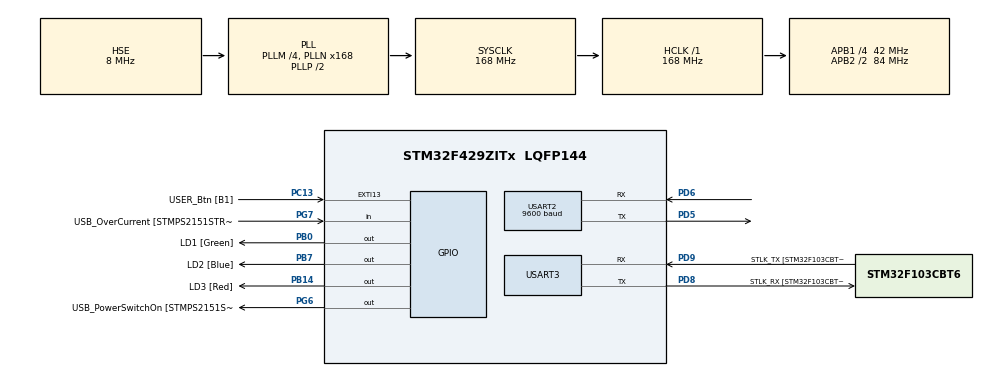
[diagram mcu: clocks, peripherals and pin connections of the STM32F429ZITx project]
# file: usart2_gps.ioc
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Mcu.Family=STM32F4
Mcu.Name=STM32F429ZITx
Mcu.Package=LQFP144
NVIC.PriorityGroup=NVIC_PRIORITYGROUP_4
NVIC.USART2_IRQn=true\:0\:0\:false\:false\:true\:true\:true\:true
PA1.GPIO_Label=RMII_REF_CLK [LAN8742A-CZ-TR_REFCLK0]
PA1.Signal=ETH_REF_CLK
PA10.GPIO_Label=USB_ID
PA10.Signal=USB_OTG_FS_ID
PA11.GPIO_Label=USB_DM
PA11.Signal=USB_OTG_FS_DM
PA12.GPIO_Label=USB_DP
PA12.Signal=USB_OTG_FS_DP
PA13.GPIO_Label=TMS
PA13.Mode=Serial_Wire
PA13.Signal=SYS_JTMS-SWDIO
PA14.GPIO_Label=TCK
PA14.Mode=Serial_Wire
PA14.Signal=SYS_JTCK-SWCLK
PA2.GPIO_Label=RMII_MDIO [LAN8742A-CZ-TR_MDIO]
PA2.Signal=ETH_MDIO
PA7.GPIO_Label=RMII_CRS_DV [LAN8742A-CZ-TR_CRS_DV]
PA7.Signal=ETH_CRS_DV
PA8.GPIO_Label=USB_SOF [TP1]
PA8.Signal=USB_OTG_FS_SOF
PA9.GPIO_Label=USB_VBUS
PA9.Signal=USB_OTG_FS_VBUS
PB0.GPIO_Label=LD1 [Green]
PB0.Signal=GPIO_Output
PB13.GPIO_Label=RMII_TXD1 [LAN8742A-CZ-TR_TXD1]
PB13.Signal=ETH_TXD1
PB14.GPIO_Label=LD3 [Red]
PB14.Signal=GPIO_Output
PB7.GPIO_Label=LD2 [Blue]
PB7.Signal=GPIO_Output
PC1.GPIO_Label=RMII_MDC [LAN8742A-CZ-TR_MDC]
PC1.Signal=ETH_MDC
PC13.GPIO_Label=USER_Btn [B1]
PC13.Signal=GPXTI13
PC14/OSC32_IN.Mode=LSE-External-Oscillator
PC14/OSC32_IN.Signal=RCC_OSC32_IN
PC15/OSC32_OUT.Mode=LSE-External-Oscillator
PC15/OSC32_OUT.Signal=RCC_OSC32_OUT
PC4.GPIO_Label=RMII_RXD0 [LAN8742A-CZ-TR_RXD0]
PC4.Signal=ETH_RXD0
PC5.GPIO_Label=RMII_RXD1 [LAN8742A-CZ-TR_RXD1]
PC5.Signal=ETH_RXD1
PD5.Mode=Asynchronous
PD5.Signal=USART2_TX
PD6.Mode=Asynchronous
PD6.Signal=USART2_RX
PD8.GPIO_Label=STLK_RX [STM32F103CBT6_PA3]
PD8.Mode=Asynchronous
PD8.Signal=USART3_TX
PD9.GPIO_Label=STLK_TX [STM32F103CBT6_PA2]
PD9.Mode=Asynchronous
PD9.Signal=USART3_RX
PG11.GPIO_Label=RMII_TX_EN [LAN8742A-CZ-TR_TXEN]
PG11.Signal=ETH_TX_EN
PG13.GPIO_Label=RMII_TXD0 [LAN8742A-CZ-TR_TXD0]
PG13.Signal=ETH_TXD0
PG6.GPIO_Label=USB_PowerSwitchOn [STMPS2151STR_EN]
PG6.Signal=GPIO_Output
PG7.GPIO_Label=USB_OverCurrent [STMPS2151STR_FAULT]
PG7.Signal=GPIO_Input
PH0/OSC_IN.GPIO_Label=MCO [STM32F103CBT6_PA8]
PH0/OSC_IN.Mode=HSE-External-Clock-Source
PH0/OSC_IN.Signal=RCC_OSC_IN
PH1/OSC_OUT.Mode=HSE-External-Clock-Source
PH1/OSC_OUT.Signal=RCC_OSC_OUT
ProjectManager.HeapSize=0x200
ProjectManager.StackSize=0x400
ProjectManager.TargetToolchain=STM32CubeIDE
RCC.48MHZClocksFreq_Value=48000000
RCC.AHBFreq_Value=168000000
RCC.APB1CLKDivider=RCC_HCLK_DIV4
RCC.APB1Freq_Value=42000000
RCC.APB1TimFreq_Value=84000000
RCC.APB2CLKDivider=RCC_HCLK_DIV2
RCC.APB2Freq_Value=84000000
RCC.APB2TimCLKDivider=2
RCC.APB2TimFreq_Value=168000000
RCC.CortexFreq_Value=168000000
RCC.HCLKFreq_Value=168000000
RCC.HSE_VALUE=8000000
RCC.HSI_VALUE=16000000
RCC.PLLM=4
RCC.PLLMUL=RCC_PLL_MUL9
RCC.PLLN=168
RCC.PLLQ=7
RCC.PLLSourceVirtual=RCC_PLLSOURCE_HSE
RCC.PRESCALERUSB=RCC_USBCLKSOURCE_PLL_DIV1_5
RCC.SYSCLKFreq_VALUE=168000000
RCC.SYSCLKSource=RCC_SYSCLKSOURCE_PLLCLK
RCC.SYSCLKSourceVirtual=RCC_SYSCLKSOURCE_PLLCLK
RCC.USBFreq_Value=48000000
RCC.VCOOutputFreq_Value=336000000
USART2.BaudRate=9600
USART2.VirtualMode=VM_ASYNC
USART3.VirtualMode=VM_ASYNC
board=NUCLEO-F429ZI

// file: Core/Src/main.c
/* USER CODE BEGIN Header */
/**
  ******************************************************************************
  * @file           : main.c
  * @brief          : Main program body
  ******************************************************************************
  * @attention
  *
  * Copyright (c) 2023 STMicroelectronics.
  * All rights reserved.
  *
  * This software is licensed under terms that can be found in the LICENSE file
  * in the root directory of this software component.
  * If no LICENSE file comes with this software, it is provided AS-IS.
  *
  ******************************************************************************
  */
/* USER CODE END Header */
#include "main.h"
#include "usart.h"
#include "gpio.h"

/* USER CODE BEGIN Includes */
#include "gps.h"
/* USER CODE END Includes */

/* USER CODE BEGIN PV */
extern uint8_t rx_data;
extern uint8_t rx_buffer[GPSBUFSIZE];
extern uint8_t rx_index;
extern GPS_t GPS;

extern flag = 0;

/* USER CODE END PV */

void SystemClock_Config(void);
/* USER CODE BEGIN PFP */
#ifdef __GNUC__
/* With GCC, small printf (option LD Linker->Libraries->Small printf
   set to 'Yes') calls __io_putchar() */
#define PUTCHAR_PROTOTYPE int __io_putchar(int ch)
#else
#define PUTCHAR_PROTOTYPE int fputc(int ch, FILE *f)
#endif /* __GNUC__ */
/* USER CODE END PFP */

/* USER CODE BEGIN 0 */
void HAL_UART_RxCpltCallback(UART_HandleTypeDef *huart)
{
	if(huart == &huart2){
		GPS_UART_CallBack();
	}
}
/* USER CODE END 0 */

int main(void)
{

  /* MCU Configuration--------------------------------------------------------*/

  /* Reset of all peripherals, Initializes the Flash interface and the Systick. */
  HAL_Init();

  /* Configure the system clock */
  SystemClock_Config();

  /* Initialize all configured peripherals */
  MX_GPIO_Init();
  MX_USART3_UART_Init();
  MX_USART2_UART_Init();
  /* USER CODE BEGIN 2 */
  GPS_Init();
  /* USER CODE END 2 */

  /* Infinite loop */
  /* USER CODE BEGIN WHILE */
  while (1)
  {
	  HAL_Delay(1000);
	  printf("%.f,%f,%f\r\n", GPS.utc_time, GPS.dec_latitude, GPS.dec_longitude);
    /* USER CODE END WHILE */

  }
}

void SystemClock_Config(void)
{
  RCC_OscInitTypeDef RCC_OscInitStruct = {0};
  RCC_ClkInitTypeDef RCC_ClkInitStruct = {0};

  /** Configure the main internal regulator output voltage
  */
  __HAL_RCC_PWR_CLK_ENABLE();
  __HAL_PWR_VOLTAGESCALING_CONFIG(PWR_REGULATOR_VOLTAGE_SCALE1);

  /** Initializes the RCC Oscillators according to the specified parameters
  * in the RCC_OscInitTypeDef structure.
  */
  RCC_OscInitStruct.OscillatorType = RCC_OSCILLATORTYPE_HSE;
  RCC_OscInitStruct.HSEState = RCC_HSE_BYPASS;
  RCC_OscInitStruct.PLL.PLLState = RCC_PLL_ON;
  RCC_OscInitStruct.PLL.PLLSource = RCC_PLLSOURCE_HSE;
  RCC_OscInitStruct.PLL.PLLM = 4;
  RCC_OscInitStruct.PLL.PLLN = 168;
  RCC_OscInitStruct.PLL.PLLP = RCC_PLLP_DIV2;
  RCC_OscInitStruct.PLL.PLLQ = 7;
  if (HAL_RCC_OscConfig(&RCC_OscInitStruct) != HAL_OK)
  {
    Error_Handler();
  }

  /** Initializes the CPU, AHB and APB buses clocks
  */
  RCC_ClkInitStruct.ClockType = RCC_CLOCKTYPE_HCLK|RCC_CLOCKTYPE_SYSCLK
                              |RCC_CLOCKTYPE_PCLK1|RCC_CLOCKTYPE_PCLK2;
  RCC_ClkInitStruct.SYSCLKSource = RCC_SYSCLKSOURCE_PLLCLK;
  RCC_ClkInitStruct.AHBCLKDivider = RCC_SYSCLK_DIV1;
  RCC_ClkInitStruct.APB1CLKDivider = RCC_HCLK_DIV4;
  RCC_ClkInitStruct.APB2CLKDivider = RCC_HCLK_DIV2;

  if (HAL_RCC_ClockConfig(&RCC_ClkInitStruct, FLASH_LATENCY_5) != HAL_OK)
  {
    Error_Handler();
  }
}

/* USER CODE BEGIN 4 */
PUTCHAR_PROTOTYPE
{
  /* Place your implementation of fputc here */
  /* e.g. write a character to the USART3 and Loop until the end of transmission */
  HAL_UART_Transmit(&huart3, (uint8_t *)&ch, 1, 0xFFFF);

  return ch;
}
/* USER CODE END 4 */

void Error_Handler(void)
{
  __disable_irq();
  while (1)
  {
  }
}
